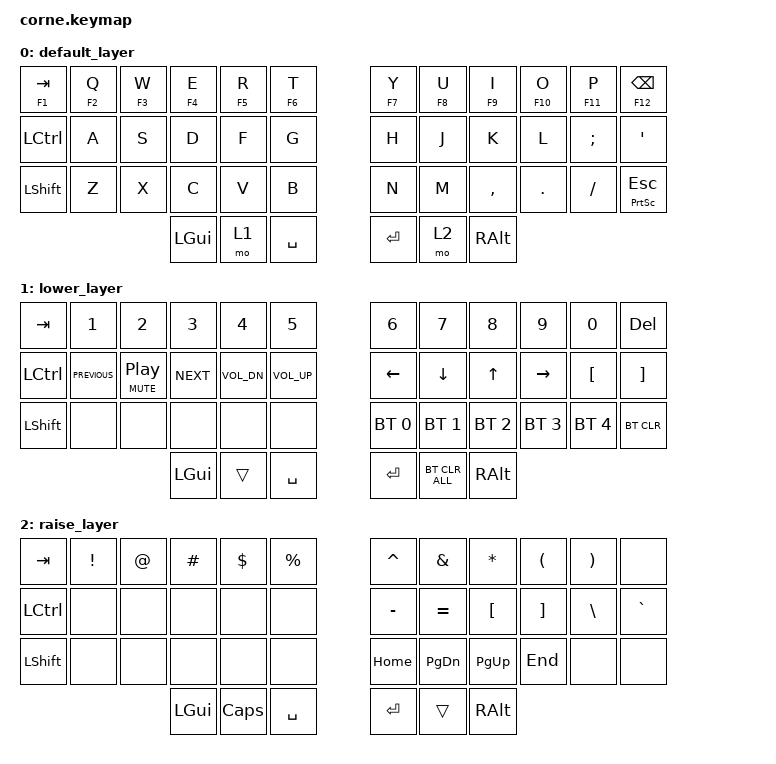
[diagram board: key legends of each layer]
/*
 * Copyright (c) 2020 The ZMK Contributors
 *
 * SPDX-License-Identifier: MIT
 */

#include <behaviors.dtsi>
#include <dt-bindings/zmk/bt.h>
#include <dt-bindings/zmk/keys.h>

/ {
    behaviors {
        HMR: HMR {
            compatible = "zmk,behavior-hold-tap";
            label = "HMR";
            bindings = <&kp>, <&kp>;

            #binding-cells = <2>;
            tapping-term-ms = <280>;
            quick-tap-ms = <175>;
            flavor = "tap-preferred";
            hold-trigger-key-positions = <10 11 6 7 8 9 35>;
        };

        HML: HML {
            compatible = "zmk,behavior-hold-tap";
            label = "HML";
            bindings = <&kp>, <&kp>;

            #binding-cells = <2>;
            tapping-term-ms = <280>;
            quick-tap-ms = <175>;
            flavor = "tap-preferred";
            hold-trigger-key-positions = <0 1 2 3 4 5>;
        };
    };

    combos {
        compatible = "zmk,combos";

        CapsLock {
            bindings = <&kp CAPSLOCK>;
            key-positions = <24 0>;
            layers = <0 1 2>;
            timeout-ms = <200>;
        };

        Delete {
            bindings = <&kp DELETE>;
            key-positions = <24 11>;
            layers = <0>;
            timeout-ms = <200>;
        };
    };

    keymap {
        compatible = "zmk,keymap";

        default_layer {
            // -----------------------------------------------------------------------------------------
            // |  TAB |  Q  |  W  |  E  |  R  |  T  |   |  Y  |  U   |  I  |  O  |  P  | BKSP |
            // | CTRL |  A  |  S  |  D  |  F  |  G  |   |  H  |  J   |  K  |  L  |  ;  |  '   |
            // | SHFT |  Z  |  X  |  C  |  V  |  B  |   |  N  |  M   |  ,  |  .  |  /  | ESC  |
            //                    | GUI | LWR | SPC |   | ENT | RSE  | ALT |

            bindings = <
&HML F1 TAB     &HML F2 Q  &HML F3 W  &HML F4 E  &HML F5 R  &HML F6 T    &HMR F7 Y  &HMR F8 U  &HMR F9 I  &HMR F10 O  &HMR F11 P  &HMR F12 BACKSPACE
&kp LCTRL       &kp A      &kp S      &kp D      &kp F      &kp G        &kp H      &kp J      &kp K      &kp L       &kp SEMI    &kp SQT
&kp LEFT_SHIFT  &kp Z      &kp X      &kp C      &kp V      &kp B        &kp N      &kp M      &kp COMMA  &kp DOT     &kp FSLH    &HMR PRINTSCREEN ESCAPE
                                      &kp LGUI   &mo 1      &kp SPACE    &kp RET    &mo 2      &kp RALT
            >;
        };

        lower_layer {
            // -----------------------------------------------------------------------------------------
            // |  TAB |  1  |  2  |  3  |   4   |  5  |   |  6  |  7  |  8  |  9  |  0  |  DEL |
            // | CTRL| BT1 | BT2 | BT3 |  BT4  | BT5 |   | LFT | DWN |  UP | RGT |  [  |  L4  |
            // | SHFT |     |     |     |       |     |   |     |     |     |     |     |      |
            //                    | GUI | BTCLR | SPC |   | ENT |     | ALT |

            bindings = <
&kp TAB         &kp N1          &kp N2           &kp N3      &kp N4        &kp N5          &kp N6        &kp N7          &kp N8        &kp N9        &kp N0        &kp DEL
&kp LCTRL       &kp C_PREVIOUS  &mt C_MUTE C_PP  &kp C_NEXT  &kp C_VOL_DN  &kp C_VOL_UP    &kp LEFT      &kp DOWN        &kp UP        &kp RIGHT     &kp LBKT      &kp RIGHT_BRACKET
&kp LEFT_SHIFT  &none           &none            &none       &none         &none           &bt BT_SEL 0  &bt BT_SEL 1    &bt BT_SEL 2  &bt BT_SEL 3  &bt BT_SEL 4  &bt BT_CLR
                                                 &kp LGUI    &trans        &kp SPACE       &kp RET       &bt BT_CLR_ALL  &kp RALT
            >;
        };

        raise_layer {
            // -----------------------------------------------------------------------------------------
            // |      |      |     |   7   |  8  |  9  |   |  F1  |  F2  |  F3  |  F4  |  F5  |   F6   |
            // | CTRL |      |     |   4   |  5  |  6  |   |  F7  |  F8  |  F9  |  F10 | F11  |   F12  |
            // | CLCK |  L1  |  0  |   1   |  2  |  3  |   |  LFT |  DWN |  UP  |  RGT |      |        |
            //                    | GUI |     | SPC |   | ENT |     | ALT |

            bindings = <
&kp TAB         &kp EXCLAMATION  &kp AT_SIGN  &kp HASH  &kp DOLLAR    &kp PERCENT    &kp CARET  &kp AMPERSAND  &kp ASTERISK      &kp LEFT_PARENTHESIS  &kp RIGHT_PARENTHESIS  &none
&kp LCTRL       &none            &none        &none     &none         &none          &kp MINUS  &kp EQUAL      &kp LEFT_BRACKET  &kp RIGHT_BRACKET     &kp BACKSLASH          &kp GRAVE
&kp LEFT_SHIFT  &none            &none        &none     &none         &none          &kp HOME   &kp PAGE_DOWN  &kp PAGE_UP       &kp END               &none                  &none
                                              &kp LGUI  &kp CAPSLOCK  &kp SPACE      &kp RET    &trans         &kp RALT
            >;
        };
    };
};
